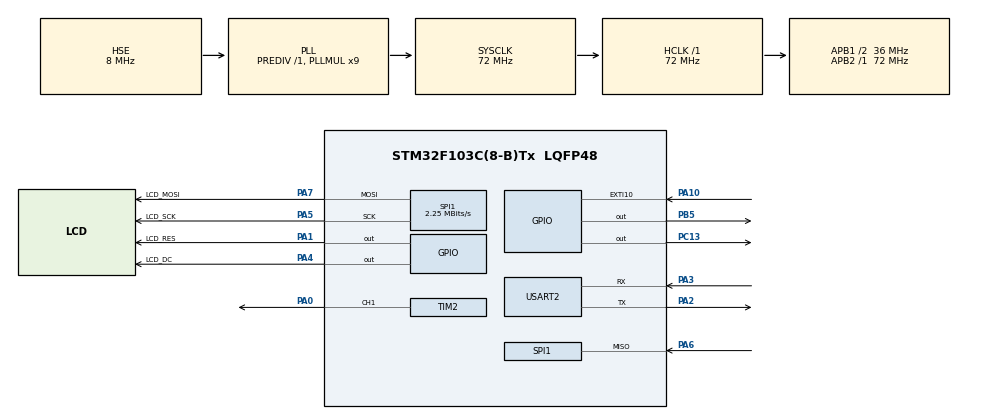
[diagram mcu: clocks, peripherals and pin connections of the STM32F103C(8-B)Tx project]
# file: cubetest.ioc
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Dma.Request0=USART2_TX
Dma.USART2_TX.0.Direction=DMA_MEMORY_TO_PERIPH
Dma.USART2_TX.0.Instance=DMA1_Channel7
Dma.USART2_TX.0.MemDataAlignment=DMA_MDATAALIGN_BYTE
Dma.USART2_TX.0.MemInc=DMA_MINC_ENABLE
Dma.USART2_TX.0.Mode=DMA_NORMAL
Dma.USART2_TX.0.PeriphDataAlignment=DMA_PDATAALIGN_BYTE
Dma.USART2_TX.0.PeriphInc=DMA_PINC_DISABLE
Dma.USART2_TX.0.Priority=DMA_PRIORITY_LOW
IWDG.Reload=3000
Mcu.Family=STM32F1
Mcu.Name=STM32F103C(8-B)Tx
Mcu.Package=LQFP48
NVIC.DMA1_Channel7_IRQn=true\:0\:0\:false\:false\:true\:false\:true\:true
NVIC.EXTI15_10_IRQn=true\:0\:0\:false\:false\:true\:true\:true\:true
NVIC.PriorityGroup=NVIC_PRIORITYGROUP_4
NVIC.TIM1_UP_IRQn=true\:15\:0\:false\:false\:true\:false\:true\:true
NVIC.TimeBase=TIM1_UP_IRQn
NVIC.TimeBaseIP=TIM1
NVIC.USART2_IRQn=true\:0\:0\:false\:false\:true\:true\:true\:true
PA0-WKUP.Signal=S_TIM2_CH1_ETR
PA1.GPIO_Label=LCD_RES
PA1.GPIO_PuPd=GPIO_PULLUP
PA1.Signal=GPIO_Output
PA10.GPIO_PuPd=GPIO_PULLDOWN
PA10.Signal=GPXTI10
PA13.Mode=Serial_Wire
PA13.Signal=SYS_JTMS-SWDIO
PA14.Mode=Serial_Wire
PA14.Signal=SYS_JTCK-SWCLK
PA2.Mode=Asynchronous
PA2.Signal=USART2_TX
PA3.Mode=Asynchronous
PA3.Signal=USART2_RX
PA4.GPIO_Label=LCD_DC
PA4.Signal=GPIO_Output
PA5.GPIO_Label=LCD_SCK
PA5.Mode=Full_Duplex_Master
PA5.Signal=SPI1_SCK
PA6.Mode=Full_Duplex_Master
PA6.Signal=SPI1_MISO
PA7.GPIO_Label=LCD_MOSI
PA7.Mode=Full_Duplex_Master
PA7.Signal=SPI1_MOSI
PB5.GPIO_PuPd=GPIO_PULLDOWN
PB5.PinState=GPIO_PIN_RESET
PB5.Signal=GPIO_Output
PC13-TAMPER-RTC.Signal=GPIO_Output
PD0-OSC_IN.Mode=HSE-External-Oscillator
PD0-OSC_IN.Signal=RCC_OSC_IN
PD1-OSC_OUT.Mode=HSE-External-Oscillator
PD1-OSC_OUT.Signal=RCC_OSC_OUT
ProjectManager.HeapSize=0x200
ProjectManager.StackSize=0x400
ProjectManager.TargetToolchain=MDK-ARM V5
RCC.AHBFreq_Value=72000000
RCC.APB1CLKDivider=RCC_HCLK_DIV2
RCC.APB1Freq_Value=36000000
RCC.APB1TimFreq_Value=72000000
RCC.APB2Freq_Value=72000000
RCC.APB2TimFreq_Value=72000000
RCC.HCLKFreq_Value=72000000
RCC.PLLMUL=RCC_PLL_MUL9
RCC.PLLSourceVirtual=RCC_PLLSOURCE_HSE
RCC.SYSCLKFreq_VALUE=72000000
RCC.SYSCLKSource=RCC_SYSCLKSOURCE_PLLCLK
RCC.USBFreq_Value=72000000
SH.S_TIM2_CH1_ETR.0=TIM2_CH1,PWM Generation1 CH1
SPI1.BaudRatePrescaler=SPI_BAUDRATEPRESCALER_32
SPI1.CLKPhase=SPI_PHASE_2EDGE
SPI1.CLKPolarity=SPI_POLARITY_HIGH
SPI1.CalculateBaudRate=2.25 MBits/s
SPI1.Direction=SPI_DIRECTION_2LINES
SPI1.Mode=SPI_MODE_MASTER
SPI1.VirtualType=VM_MASTER
TIM2.Channel-PWM\ Generation1\ CH1=TIM_CHANNEL_1
TIM2.Period=100-1
TIM2.Prescaler=720-1
USART2.VirtualMode=VM_ASYNC
VP_IWDG_VS_IWDG.Mode=IWDG_Activate
VP_SYS_VS_tim1.Mode=TIM1
VP_TIM2_VS_ClockSourceINT.Mode=Internal
board=custom

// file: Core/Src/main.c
/* USER CODE BEGIN Header */
/**
 ******************************************************************************
 * @file           : main.c
 * @brief          : Main program body
 ******************************************************************************
 */
/* USER CODE END Header */
#include "main.h"
#include "dma.h"
#include "iwdg.h"
#include "spi.h"
#include "tim.h"
#include "usart.h"
#include "gpio.h"

/* USER CODE BEGIN Includes */
#include <stdio.h>
#include <string.h>
#include <stdarg.h> // 为了使用 va_list
#include "rtos.h"   // 引入自定义 RTOS 系统
#include "flash_update.h"
#include "lcd_st7789.h"
/* USER CODE END Includes */

/* USER CODE BEGIN PTD */
// 规范：将自定义类型定义统一放置于此
typedef struct
{
  char text[128]; // 确保有足够容量容纳时间戳和可变参数
  uint16_t len;   // 实际发送长度（支持二进制帧）
} LogMsg_t;
/* USER CODE END PTD */

/* USER CODE BEGIN PV */
// 规范：将全局变量和系统内核句柄统一放置于此
Queue_t *PrintQueue = NULL;
Semaphore_t *DmaTxSem = NULL;
Semaphore_t *ButtonSem = NULL;
volatile uint8_t breathing_mode = 1;     // 1: 呼吸模式, 0: 常亮模式
volatile uint8_t global_button_flag = 0; // 通用按键事件标志，可供任意任务轮询读取
Mutex_t *FlashMutex = NULL;              // Flash 控制器互斥锁
uint8_t g_hog_counter = 0;               // 按键计数：3次启 HogTask，6次删除
TaskList *g_hog_task = NULL;             // HogTask 句柄
/* USER CODE END PV */

void SystemClock_Config(void);
/* USER CODE BEGIN PFP */
// 规范：任务入口与私有函数的声明
/* PrintTask: Background DMA printer. Reads PrintQueue -> UART2 DMA TX. Priority 3. */
void PrintTask_Entry(void *arg);
/* Task1: Demo task control. Deletes/recreates Task3 at runtime to test dynamic management. */
void Task1_Entry(void *arg);
/* Task2: Heartbeat — toggles PC13 LED every 500ms. */
void Task2_Entry(void *arg);
/* Task3: VIP data processor. Static int x survives delete/recreate. */
void Task3_Entry(void *arg);
void badtask(void *arg);
/* my_itoa: Lightweight unsigned int to ASCII (no stdlib dependency). */
uint8_t my_itoa(unsigned int num, char *str);
/* LOGI: Async printf. Formats msg with timestamp -> PrintQueue. NOT for ISR use. */
void LOGI(const char *format, ...);
/* FlashUpdateTask: FOTA receive + flash write. Priority 1 (lowest user). */
void FlashUpdateTask_Entry(void *arg);
void CpuHogTask_Entry(void *arg);
/* USER CODE END PFP */

/* USER CODE BEGIN 0 */
// 规范：用户自定义函数的实现均放置在 0 区

/**
 * @brief 超轻量级无符号整数转字符串函数
 */
/* my_itoa: Lightweight unsigned int to ASCII (no stdlib dependency). */
uint8_t my_itoa(unsigned int num, char *str)
{
  int i = 0;
  if (num == 0)
  {
    str[i++] = '0';
    str[i] = '\0';
    return 1;
  }

  char temp[16];
  int j = 0;
  while (num > 0)
  {
    temp[j++] = (num % 10) + '0';
    num /= 10;
  }

  while (j > 0)
  {
    str[i++] = temp[--j];
  }
  str[i] = '\0';
  return i;
}

/**
 * @brief 应用层异步日志打印函数 (类似 printf)
 * @note 绝不能在中断(ISR)或操作系统启动前调用此函数！
 */
/* LOGI: Async printf. Formats msg with timestamp -> PrintQueue. NOT for ISR use. */
void LOGI(const char *format, ...)
{
  LogMsg_t txMsg;
  int timestamp_len;
  int remain_len;

  timestamp_len = snprintf(txMsg.text, sizeof(txMsg.text), "%ums ", OsRunningTime_ms);
  if (timestamp_len < 0 || timestamp_len >= sizeof(txMsg.text))
  {
    return;
  }

  remain_len = sizeof(txMsg.text) - timestamp_len;

  va_list args;
  va_start(args, format);
  int msg_len = vsnprintf(&txMsg.text[timestamp_len], remain_len, format, args);
  va_end(args);

  if (msg_len < 0)
    return;
  txMsg.len = timestamp_len + msg_len; // 记录实际长度，让 PrintTask 用

  QueueSend(PrintQueue, &txMsg);
}

/**
 * @brief DMA 驱动的后台打印任务 (消费者)
 */
/* PrintTask: Background DMA printer. Reads PrintQueue -> UART2 DMA TX. Priority 3. */
void PrintTask_Entry(void *arg)
{
  LogMsg_t rxMsg;
  while (1)
  {
    SemaphoreTake(DmaTxSem);
    QueueReceive(PrintQueue, &rxMsg);
    HAL_UART_Transmit_DMA(&huart2, (uint8_t *)rxMsg.text, rxMsg.len);
  }
}

/**
 * @brief 业务任务 1：演示任务控制与日志输出
 */
/* Task1: Demo task control. Deletes/recreates Task3 at runtime to test dynamic management. */
void Task1_Entry(void *arg)
{
  int loop_count = 0;
  TaskList *target_task = (TaskList *)arg;

  while (1)
  {
    loop_count++;
    LOGI("Task1 is running, loop count: %d\r\n", loop_count);

    if (loop_count == 2)
    {
      LOGI("delete task3\r\n");
      TaskDelete(target_task);
      target_task = NULL;
    }
    if (loop_count == 3)
    {
      TaskCreate(Task3_Entry, NULL, 3, (unsigned char *)"Task3_VIP");
      LOGI("create task3\r\n");
    }
    taskdelay(8000);
  }
}

/**
 * @brief 业务任务 2：高频 LED 闪烁
 */
/* Task2: Heartbeat — toggles PC13 LED every 500ms. */
void Task2_Entry(void *arg)
{
  while (1)
  {
    HAL_GPIO_TogglePin(GPIOC, GPIO_PIN_13);
    LOGI(" 2\r\n");
    taskdelay(500);
  }
}

/**
 * @brief 业务任务 3：VIP 数据处理任务 (含静态变量测试)
 */
/* Task3: VIP data processor. Static int x survives delete/recreate. */
void Task3_Entry(void *arg)
{
  static int x;
  while (1)
  {
    x++;
    LOGI(" 3_VIP,%d\r\n", x);
    taskdelay(2900);
  }
}

/**
 * @brief 故意引发饥饿死机的异常任务
 */
void badtask(void *arg)
{
  while (1)
  {
    // 霸占 CPU，不调用任何阻塞函数，引发软看门狗复位
  }
}
/**
 * @brief 按键任务（FOTA 测试版）：仅控制 PB5，不干扰呼吸
 * @note  编译时添加 FOTA_DEMO_NEW 宏启用
 */

#ifdef FOTA_DEMO_NEW
/* FOTA demo: button toggles PB5 + HogTask follows PB5 state */
void ledtask(void *arg)
{
  while (1)
  {
    SemaphoreTake(ButtonSem);
    taskdelay(20);
    if (HAL_GPIO_ReadPin(GPIOA, GPIO_PIN_10) == GPIO_PIN_SET)
    {
      HAL_GPIO_TogglePin(GPIOB, GPIO_PIN_5);
      GPIO_PinState pb5 = HAL_GPIO_ReadPin(GPIOB, GPIO_PIN_5);
      if (pb5 == GPIO_PIN_SET && g_hog_task == NULL)
        g_hog_task = TaskCreate(CpuHogTask_Entry, NULL, 0, (unsigned char *)"HogTask");
      else if (pb5 == GPIO_PIN_RESET && g_hog_task != NULL)
      { TaskDelete(g_hog_task); g_hog_task = NULL; }
      while (HAL_GPIO_ReadPin(GPIOA, GPIO_PIN_10) == GPIO_PIN_SET) taskdelay(10);
      taskdelay(20);
    }
  }
}
#else
/* Normal: breathing + PB5 + HogTask atomic */
void ledtask(void *arg)
{
  while (1)
  {
    SemaphoreTake(ButtonSem);
    taskdelay(20);
    if (HAL_GPIO_ReadPin(GPIOA, GPIO_PIN_10) == GPIO_PIN_SET)
    {
      breathing_mode = !breathing_mode;
      if (breathing_mode)
      {
        HAL_GPIO_WritePin(GPIOB, GPIO_PIN_5, GPIO_PIN_SET);
        if (g_hog_task == NULL)
          g_hog_task = TaskCreate(CpuHogTask_Entry, NULL, 0, (unsigned char *)"HogTask");
      }
      else
      {
        HAL_GPIO_WritePin(GPIOB, GPIO_PIN_5, GPIO_PIN_RESET);
        if (g_hog_task != NULL)
        { TaskDelete(g_hog_task); g_hog_task = NULL; }
      }
      while (HAL_GPIO_ReadPin(GPIOA, GPIO_PIN_10) == GPIO_PIN_SET) taskdelay(10);
      taskdelay(20);
    }
  }
}
#endif
// =========================================================================
// 2. 全新通用按键事件分发任务 (替代原本的 ledtask)
// 原理：利用 EXTI 中断释放的 Semaphore，唤醒本任务进行消抖并改变全局状态
// =========================================================================
/* 通用按键事件分发 | Universal button event dispatcher */
void GenericButtonTask_Entry(void *arg)
{
  while (1)
  {
    // 1. 阻塞等待底层 EXTI 硬件中断触发 (释放 CPU 算力)
    SemaphoreTake(ButtonSem);

    // 2. 软件消抖
    taskdelay(20);

    // 3. 确认有效按下 (基于你原本的 PA10 高电平有效逻辑)
    if (HAL_GPIO_ReadPin(GPIOA, GPIO_PIN_10) == GPIO_PIN_SET)
    {
      // --- 核心业务逻辑触发区 ---

      // 功能 A：翻转呼吸灯状态
      breathing_mode = !breathing_mode;

      // 功能 B：置位通用事件标志，供其他随意编写的业务任务读取
      global_button_flag = 1;

      LOGI("Button Pressed! Breathing Mode: %d\r\n", breathing_mode);

      // 4. 死区滞回：等待按键彻底松开，防止长按导致的连续误触发
      while (HAL_GPIO_ReadPin(GPIOA, GPIO_PIN_10) == GPIO_PIN_SET)
      {
        taskdelay(10);
      }
      taskdelay(20); // 松手消抖
    }
  }
}

// =========================================================================
// 3. 改造后的 PWM 任务 (支持状态打断)
// 原理：在每次调整占空比前读取全局状态，如果模式改变，立即 break 跳出循环
// =========================================================================
/* PWM 呼吸灯驱动 | PWM breathing LED driver */
void pwmtask(void *arg)
{
  while (1)
  {
    if (breathing_mode == 1)
    {
      // --- 呼吸模式 ---
      for (int i = 0; i < 100; i++)
      {
        // 关键逻辑：如果在渐变中途按下按键，立刻跳出循环，防止响应迟钝
        if (breathing_mode == 0)
          break;

        __HAL_TIM_SET_COMPARE(&htim2, TIM_CHANNEL_1, i);
        taskdelay(10);
      }
      for (int i = 0; i < 100; i++)
      {
        if (breathing_mode == 0)
          break;

        __HAL_TIM_SET_COMPARE(&htim2, TIM_CHANNEL_1, 100 - i);
        taskdelay(10);
      }
    }
    else
    {
      // --- 关闭模式 ---
      // 将 CCR 设置为 0 (0% 占空比，LED 熄灭)
      __HAL_TIM_SET_COMPARE(&htim2, TIM_CHANNEL_1, 0);

      // 挂起自身让出 CPU，避免 while(1) 疯狂空转导致其他任务饥饿
      taskdelay(50);
    }
  }
}
/* 系统监控任务 | System Monitor LCD Task */
void SysMonTask_Entry(void *arg)
{
  char line[36];
  uint32_t prev_idle = 0, prev_time = 0;

  Lcd_Init();
  taskdelay(10);
  Lcd_FillRegion(0, 0, 240, 240, BLACK);

  while (1)
  {
    uint32_t now = OsRunningTime_ms;
    uint32_t idle = idle_tick_count;
    uint32_t free_h = my_os_get_free_heap();
    uint32_t used_h = 12288 - free_h;
    int blk_cnt = 0, sus_cnt = 0;

    TaskList *p = blockedlist;
    while (p)
    {
      blk_cnt++;
      p = p->next;
    }
    p = suspendlist;
    while (p)
    {
      sus_cnt++;
      p = p->next;
    }

    uint32_t dt = now - prev_time;
    uint32_t cpu_usage = 0;
    if (dt > 50)
    {
      uint32_t idle_delta = idle - prev_idle;
      if (idle_delta < dt)
        cpu_usage = 100 - (idle_delta * 100 / dt);
      else
        cpu_usage = 0;
    }

    prev_idle = idle;
    prev_time = now;

/* 固定宽度显示，防止残留 */
#ifdef FOTA_DEMO_NEW
    Lcd_DrawString(0, 0, "== FOTA DEMO MODE ==", RED, BLACK);
#else
    Lcd_DrawString(0, 0, "== System Monitor ==", CYAN, BLACK);
#endif

    snprintf(line, 36, "Uptime: %4lus", now / 1000);
    Lcd_DrawString(0, 14, line, WHITE, BLACK);
    snprintf(line, 36, "CPU Load: %3lu%%", cpu_usage);
    Lcd_DrawString(0, 28, line, GREEN, BLACK);
    snprintf(line, 36, "Heap: %4lu/%4lu (%3lu%%)",
             used_h, used_h + free_h, used_h * 100 / (used_h + free_h));
    Lcd_DrawString(0, 42, line, YELLOW, BLACK);
    snprintf(line, 36, "Ready B:%d S:%d", blk_cnt, sus_cnt);
    Lcd_DrawString(0, 56, line, GRAY, BLACK);

    taskdelay(500); /* 500ms 刷新 */
  }
}

void CpuHogTask_Entry(void *arg)
{
  volatile uint32_t x = 0;
  (void)arg;
  while (1)
  {
    for (int i = 0; i < 100000; i++)
      x += i * i;
  }
}

/* USER CODE END 0 */

int main(void)
{

  /* MCU Configuration--------------------------------------------------------*/

  /* Reset of all peripherals, Initializes the Flash interface and the Systick. */
  HAL_Init();

  /* Configure the system clock */
  SystemClock_Config();

  /* Initialize all configured peripherals */
  MX_GPIO_Init();
  MX_DMA_Init();
  MX_USART2_UART_Init();
  MX_IWDG_Init();
  MX_TIM2_Init();
  MX_SPI1_Init();
  /* USER CODE BEGIN 2 */
  HAL_GPIO_WritePin(GPIOC, GPIO_PIN_13, GPIO_PIN_SET);

  char *msg = "\r\n--- RTOS System Starting ---\r\n";
  HAL_UART_Transmit(&huart2, (uint8_t *)msg, strlen(msg), HAL_MAX_DELAY);
  HAL_GPIO_TogglePin(GPIOC, GPIO_PIN_13);
  HAL_TIM_PWM_Start(&htim2, TIM_CHANNEL_1);
  // 1. 初始化系统核心与内存
  my_os_heap_init();

  // 2. 初始化核心 IPC（进程间通信）机制
  PrintQueue = QueueCreate(10, sizeof(LogMsg_t));
  DmaTxSem = SemaphoreCreate(1);
  ButtonSem = SemaphoreCreate(0);
  FlashMutex = MutexCreate(); // Flash 控制器互斥锁
  // 3. 创建所有业务任务
  TaskList *task = TaskCreate(Task3_Entry, NULL, 2, (unsigned char *)"Task3_VIP");
  TaskCreate(PrintTask_Entry, NULL, 3, (unsigned char *)"PrintTask");
  TaskCreate(Task1_Entry, task, 2, (unsigned char *)"Task1");
  TaskCreate(Task2_Entry, NULL, 2, (unsigned char *)"Task2");
  TaskCreate(ledtask, NULL, 2, (unsigned char *)"LedTask");
  TaskCreateEX(pwmtask, NULL, 3, 64, (unsigned char *)"PwmTask");
  // TaskCreate(GenericButtonTask_Entry, NULL, 2, (unsigned char *)"GenericButtonTask");
  //  5. 在线升级 FOTA 任务（最低用户优先级 1，后台运行）
  TaskCreateEX(FlashUpdateTask_Entry, NULL, 1, 200, (unsigned char *)"FlashUpd");
  TaskCreate(SysMonTask_Entry, NULL, 1, (unsigned char *)"SysMon");
  // 4. 启动调度器，系统接管 CPU 控制权
  StartScheduler();
  /* USER CODE END 2 */

  /* Infinite loop */
  while (1)
  {

  }
}

void SystemClock_Config(void)
{
  RCC_OscInitTypeDef RCC_OscInitStruct = {0};
  RCC_ClkInitTypeDef RCC_ClkInitStruct = {0};

  /** Initializes the RCC Oscillators according to the specified parameters
   * in the RCC_OscInitTypeDef structure.
   */
  RCC_OscInitStruct.OscillatorType = RCC_OSCILLATORTYPE_LSI | RCC_OSCILLATORTYPE_HSE;
  RCC_OscInitStruct.HSEState = RCC_HSE_ON;
  RCC_OscInitStruct.HSEPredivValue = RCC_HSE_PREDIV_DIV1;
  RCC_OscInitStruct.HSIState = RCC_HSI_ON;
  RCC_OscInitStruct.LSIState = RCC_LSI_ON;
  RCC_OscInitStruct.PLL.PLLState = RCC_PLL_ON;
  RCC_OscInitStruct.PLL.PLLSource = RCC_PLLSOURCE_HSE;
  RCC_OscInitStruct.PLL.PLLMUL = RCC_PLL_MUL9;
  if (HAL_RCC_OscConfig(&RCC_OscInitStruct) != HAL_OK)
  {
    Error_Handler();
  }

  /** Initializes the CPU, AHB and APB buses clocks
   */
  RCC_ClkInitStruct.ClockType = RCC_CLOCKTYPE_HCLK | RCC_CLOCKTYPE_SYSCLK | RCC_CLOCKTYPE_PCLK1 | RCC_CLOCKTYPE_PCLK2;
  RCC_ClkInitStruct.SYSCLKSource = RCC_SYSCLKSOURCE_PLLCLK;
  RCC_ClkInitStruct.AHBCLKDivider = RCC_SYSCLK_DIV1;
  RCC_ClkInitStruct.APB1CLKDivider = RCC_HCLK_DIV2;
  RCC_ClkInitStruct.APB2CLKDivider = RCC_HCLK_DIV1;

  if (HAL_RCC_ClockConfig(&RCC_ClkInitStruct, FLASH_LATENCY_2) != HAL_OK)
  {
    Error_Handler();
  }
}

/* USER CODE BEGIN 4 */
/**
 * @brief 串口 DMA 发送完成中断回调函数
 */
void HAL_UART_TxCpltCallback(UART_HandleTypeDef *huart)
{
  if (huart->Instance == USART2)
  {
    SemaphoreGive(DmaTxSem); // 唤醒 PrintTask 进行下一帧发送
  }
}

/* EXTI 按键中断回调 | EXTI button interrupt callback */
void HAL_GPIO_EXTI_Callback(uint16_t GPIO_Pin)
{
  if (GPIO_Pin == GPIO_PIN_10)
  {
    // 路径终点：一旦产生硬件中断，立刻给信号量，唤醒任务
    SemaphoreGive(ButtonSem);
  }
}

/* USER CODE END 4 */

void HAL_TIM_PeriodElapsedCallback(TIM_HandleTypeDef *htim)
{
  if (htim->Instance == TIM1)
  {
    HAL_IncTick();
  }
}

void Error_Handler(void)
{
  __disable_irq();
  while (1)
  {
  }
}
